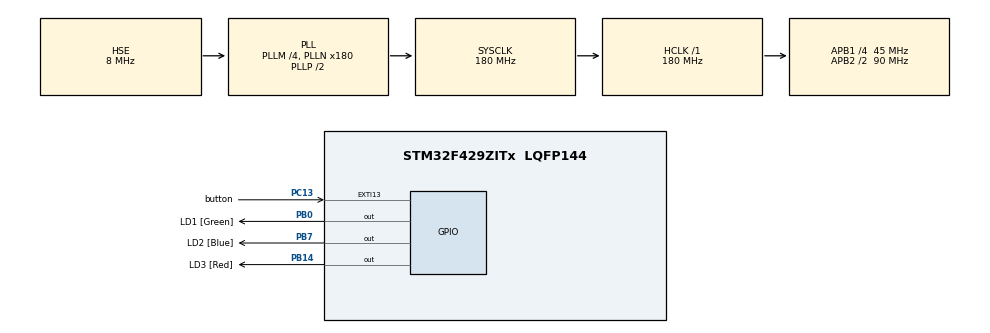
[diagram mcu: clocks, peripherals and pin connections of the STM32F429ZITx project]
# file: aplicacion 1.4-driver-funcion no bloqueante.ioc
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Mcu.Family=STM32F4
Mcu.Name=STM32F429ZITx
Mcu.Package=LQFP144
NVIC.PriorityGroup=NVIC_PRIORITYGROUP_4
PB0.GPIO_Label=LD1 [Green]
PB0.Signal=GPIO_Output
PB14.GPIO_Label=LD3 [Red]
PB14.Signal=GPIO_Output
PB7.GPIO_Label=LD2 [Blue]
PB7.Signal=GPIO_Output
PC13.GPIO_Label=button
PC13.Signal=GPXTI13
PH0/OSC_IN.GPIO_Label=MCO [STM32F103CBT6_PA8]
PH0/OSC_IN.Mode=HSE-External-Oscillator
PH0/OSC_IN.Signal=RCC_OSC_IN
PH1/OSC_OUT.Mode=HSE-External-Oscillator
PH1/OSC_OUT.Signal=RCC_OSC_OUT
ProjectManager.HeapSize=0x200
ProjectManager.StackSize=0x400
ProjectManager.TargetToolchain=STM32CubeIDE
RCC.48MHZClocksFreq_Value=51428571.428571425
RCC.AHBFreq_Value=180000000
RCC.APB1CLKDivider=RCC_HCLK_DIV4
RCC.APB1Freq_Value=45000000
RCC.APB1TimFreq_Value=90000000
RCC.APB2CLKDivider=RCC_HCLK_DIV2
RCC.APB2Freq_Value=90000000
RCC.APB2TimFreq_Value=180000000
RCC.CortexFreq_Value=180000000
RCC.HCLKFreq_Value=180000000
RCC.HSE_VALUE=8000000
RCC.HSI_VALUE=16000000
RCC.PLLM=4
RCC.PLLMUL=RCC_PLL_MUL9
RCC.PLLN=180
RCC.PLLQ=7
RCC.PLLSourceVirtual=RCC_PLLSOURCE_HSE
RCC.PRESCALERUSB=RCC_USBCLKSOURCE_PLL_DIV1_5
RCC.SYSCLKFreq_VALUE=180000000
RCC.SYSCLKSource=RCC_SYSCLKSOURCE_PLLCLK
RCC.SYSCLKSourceVirtual=RCC_SYSCLKSOURCE_PLLCLK
RCC.USBFreq_Value=48000000
RCC.VCOOutputFreq_Value=360000000
board=NUCLEO-F429ZI

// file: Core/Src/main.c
/* USER CODE BEGIN Header */
/**
  ******************************************************************************
  * @file           : main.c
  * @brief          : Main program body
  ******************************************************************************
  * @attention
  *
  * Copyright (c) 2026 STMicroelectronics.
  * All rights reserved.
  *
  * This software is licensed under terms that can be found in the LICENSE file
  * in the root directory of this software component.
  * If no LICENSE file comes with this software, it is provided AS-IS.
  *
  ******************************************************************************
  */
/* USER CODE END Header */
#include "main.h"
#include "string.h"
#include <stdbool.h>
/* USER CODE BEGIN Includes */
#include "API_GPIO.h"
#include "API_Delay.h"
/* USER CODE END Includes */

/* USER CODE BEGIN PTD */
typedef enum {
    ESTADO_LED1_ON,  // LED1 encendido
    ESTADO_LED2_ON,  // LED2 encendido
    ESTADO_LED3_ON   // LED3 encendido
} estadoSecuencia_t;

/* USER CODE END PTD */

/* USER CODE BEGIN PD */
#define LED1 LD1_Pin //led verde
#define LED2 LD2_Pin //led azul
#define LED3 LD3_Pin // led rojo
/* USER CODE END PD */

/* USER CODE BEGIN PV */
led_t LEDS[] = {LED1, LED2, LED3};
estadoSecuencia_t estadoActual = ESTADO_LED1_ON;
delay_t pasoDelay1;
delay_t pasoDelay2;
delay_t pasoDelay3;
delay_t pasoDelay4;
/* USER CODE END PV */

void SystemClock_Config(void);

int main(void)
{

  /* MCU Configuration--------------------------------------------------------*/

  /* Reset of all peripherals, Initializes the Flash interface and the Systick. */
  HAL_Init();

  /* Configure the system clock */
  SystemClock_Config();

  /* Initialize all configured peripherals */
  MX_GPIO_Init();

  /* USER CODE BEGIN 2 */
  delayInit(&pasoDelay1, 100);
  delayInit(&pasoDelay2, 250);
  delayInit(&pasoDelay3, 500);
  delayInit(&pasoDelay4, 1000);
  /* USER CODE END 2 */

  /* Infinite loop */
  while (1)
  {

    /* USER CODE BEGIN 3 */
	  Boton_GPIO();

	    // Seleccionar cuál delay utilizar en este ciclo
	    delay_t* delayActual = NULL;

	    switch (estado) {
	        case 0: delayActual = &pasoDelay1; break;
	        case 1: delayActual = &pasoDelay2; break;
	        case 2: delayActual = &pasoDelay3; break;
	        case 3: delayActual = &pasoDelay4; break;
	        default: delayActual = &pasoDelay1; break;
	    }

	    //---Se ejecuta una sola vez la lógica con el delay seleccionado---//
	    if (delayRead(delayActual)) {

          toggleLed_GPIO(LEDS[0]);
          toggleLed_GPIO(LEDS[1]);
          toggleLed_GPIO(LEDS[2]);

 }

  }
  /* USER CODE END 3 */
}

void SystemClock_Config(void)
{
  RCC_OscInitTypeDef RCC_OscInitStruct = {0};
  RCC_ClkInitTypeDef RCC_ClkInitStruct = {0};

  __HAL_RCC_PWR_CLK_ENABLE();
  __HAL_PWR_VOLTAGESCALING_CONFIG(PWR_REGULATOR_VOLTAGE_SCALE1);

  RCC_OscInitStruct.OscillatorType = RCC_OSCILLATORTYPE_HSE;
  RCC_OscInitStruct.HSEState = RCC_HSE_ON;
  RCC_OscInitStruct.PLL.PLLState = RCC_PLL_ON;
  RCC_OscInitStruct.PLL.PLLSource = RCC_PLLSOURCE_HSE;
  RCC_OscInitStruct.PLL.PLLM = 4;
  RCC_OscInitStruct.PLL.PLLN = 180;
  RCC_OscInitStruct.PLL.PLLP = RCC_PLLP_DIV2;
  RCC_OscInitStruct.PLL.PLLQ = 7;
  if (HAL_RCC_OscConfig(&RCC_OscInitStruct) != HAL_OK)
  {
    Error_Handler();
  }

  if (HAL_PWREx_EnableOverDrive() != HAL_OK)
  {
    Error_Handler();
  }

  RCC_ClkInitStruct.ClockType = RCC_CLOCKTYPE_HCLK|RCC_CLOCKTYPE_SYSCLK
                              |RCC_CLOCKTYPE_PCLK1|RCC_CLOCKTYPE_PCLK2;
  RCC_ClkInitStruct.SYSCLKSource = RCC_SYSCLKSOURCE_PLLCLK;
  RCC_ClkInitStruct.AHBCLKDivider = RCC_SYSCLK_DIV1;
  RCC_ClkInitStruct.APB1CLKDivider = RCC_HCLK_DIV4;
  RCC_ClkInitStruct.APB2CLKDivider = RCC_HCLK_DIV2;

  if (HAL_RCC_ClockConfig(&RCC_ClkInitStruct, FLASH_LATENCY_5) != HAL_OK)
  {
    Error_Handler();
  }
}

void Error_Handler(void)
{
  __disable_irq();
  while (1)
  {
  }
}
